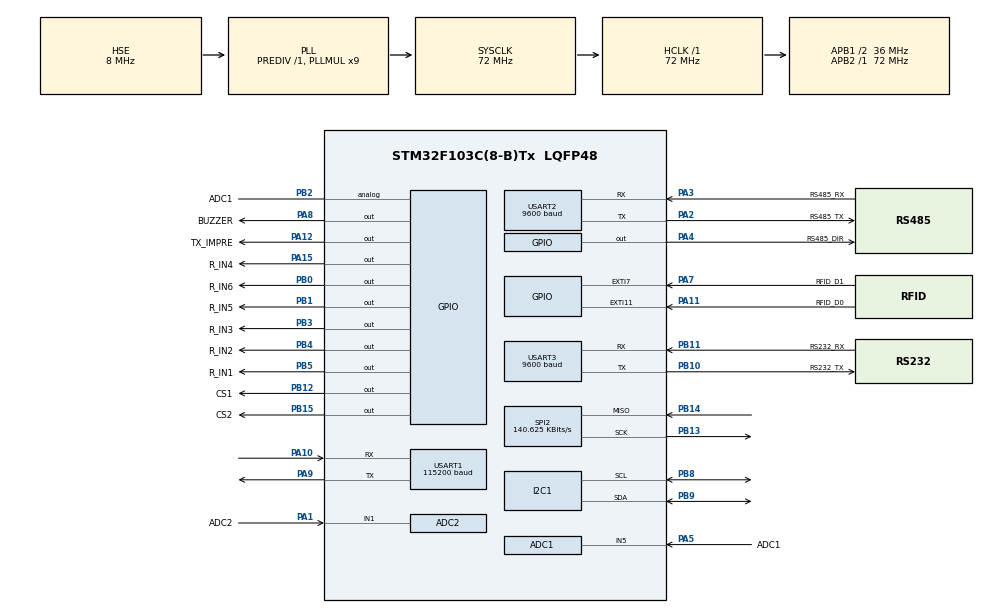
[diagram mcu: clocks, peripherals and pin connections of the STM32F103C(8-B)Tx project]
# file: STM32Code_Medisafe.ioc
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ADC1.Channel-2\#ChannelRegularConversion=ADC_CHANNEL_5
ADC1.ContinuousConvMode=ENABLE
ADC1.NbrOfConversionFlag=1
ADC1.Rank-2\#ChannelRegularConversion=1
ADC1.SamplingTime-2\#ChannelRegularConversion=ADC_SAMPLETIME_1CYCLE_5
ADC1.master=1
ADC2.Channel-1\#ChannelRegularConversion=ADC_CHANNEL_1
ADC2.ContinuousConvMode=ENABLE
ADC2.NbrOfConversionFlag=1
ADC2.Rank-1\#ChannelRegularConversion=1
ADC2.SamplingTime-1\#ChannelRegularConversion=ADC_SAMPLETIME_1CYCLE_5
IWDG.Prescaler=IWDG_PRESCALER_256
Mcu.Family=STM32F1
Mcu.Name=STM32F103C(8-B)Tx
Mcu.Package=LQFP48
NVIC.EXTI15_10_IRQn=true\:0\:0\:false\:false\:true\:true\:true\:true
NVIC.EXTI9_5_IRQn=true\:0\:0\:false\:false\:true\:true\:true\:true
NVIC.PriorityGroup=NVIC_PRIORITYGROUP_4
NVIC.USART1_IRQn=true\:0\:0\:false\:false\:true\:true\:true\:true
NVIC.USART2_IRQn=true\:1\:0\:true\:false\:true\:true\:true\:true
NVIC.USART3_IRQn=true\:0\:0\:false\:false\:true\:true\:true\:true
PA1.GPIO_Label=ADC2
PA1.Signal=ADCx_IN1
PA11.GPIO_Label=RFID_D0
PA11.GPIO_ModeDefaultEXTI=GPIO_MODE_IT_FALLING
PA11.Signal=GPXTI11
PA12.GPIO_Label=TX_IMPRE
PA12.GPIO_Speed=GPIO_SPEED_FREQ_HIGH
PA12.PinState=GPIO_PIN_SET
PA12.Signal=GPIO_Output
PA13.Mode=Serial_Wire
PA13.Signal=SYS_JTMS-SWDIO
PA14.Mode=Serial_Wire
PA14.Signal=SYS_JTCK-SWCLK
PA15.GPIO_Label=R_IN4
PA15.Signal=GPIO_Output
PA2.GPIO_Label=RS485_TX
PA2.Mode=Asynchronous
PA2.Signal=USART2_TX
PA3.GPIO_Label=RS485_RX
PA3.Mode=Asynchronous
PA3.Signal=USART2_RX
PA4.GPIO_Label=RS485_DIR
PA4.Signal=GPIO_Output
PA5.GPIO_Label=ADC1
PA5.Signal=ADCx_IN5
PA7.GPIO_Label=RFID_D1
PA7.GPIO_ModeDefaultEXTI=GPIO_MODE_IT_FALLING
PA7.Signal=GPXTI7
PA8.GPIO_Label=BUZZER
PA8.PinState=GPIO_PIN_SET
PA8.Signal=GPIO_Output
PB0.GPIO_Label=R_IN6
PB0.Signal=GPIO_Output
PB1.GPIO_Label=R_IN5
PB1.Signal=GPIO_Output
PB10.GPIO_Label=RS232_TX
PB10.Mode=Asynchronous
PB10.Signal=USART3_TX
PB11.GPIO_Label=RS232_RX
PB11.Mode=Asynchronous
PB11.Signal=USART3_RX
PB12.GPIO_Label=CS1
PB12.PinState=GPIO_PIN_SET
PB12.Signal=GPIO_Output
PB13.Mode=RX_Only_Simplex_Unidirect_Master
PB13.Signal=SPI2_SCK
PB14.Mode=RX_Only_Simplex_Unidirect_Master
PB14.Signal=SPI2_MISO
PB15.GPIO_Label=CS2
PB15.Signal=GPIO_Output
PB2.GPIO_Label=ADC1
PB2.Signal=GPIO_Analog
PB3.GPIO_Label=R_IN3
PB3.Signal=GPIO_Output
PB4.GPIO_Label=R_IN2
PB4.Signal=GPIO_Output
PB5.GPIO_Label=R_IN1
PB5.Signal=GPIO_Output
PA9.Mode=Asynchronous
PA9.Signal=USART1_TX
PA10.Mode=Asynchronous
PA10.Signal=USART1_RX
PB8.Mode=I2C
PB8.Signal=I2C1_SCL
PB9.Mode=I2C
PB9.Signal=I2C1_SDA
PC14-OSC32_IN.Mode=LSE-External-Oscillator
PC14-OSC32_IN.Signal=RCC_OSC32_IN
PC15-OSC32_OUT.Mode=LSE-External-Oscillator
PC15-OSC32_OUT.Signal=RCC_OSC32_OUT
PD0-OSC_IN.Mode=HSE-External-Oscillator
PD0-OSC_IN.Signal=RCC_OSC_IN
PD1-OSC_OUT.Mode=HSE-External-Oscillator
PD1-OSC_OUT.Signal=RCC_OSC_OUT
ProjectManager.HeapSize=0x200
ProjectManager.StackSize=0x400
ProjectManager.TargetToolchain=STM32CubeIDE
RCC.ADCPresc=RCC_ADCPCLK2_DIV6
RCC.AHBFreq_Value=72000000
RCC.APB1CLKDivider=RCC_HCLK_DIV2
RCC.APB1Freq_Value=36000000
RCC.APB1TimFreq_Value=72000000
RCC.APB2Freq_Value=72000000
RCC.APB2TimFreq_Value=72000000
RCC.HCLKFreq_Value=72000000
RCC.PLLMUL=RCC_PLL_MUL9
RCC.PLLSourceVirtual=RCC_PLLSOURCE_HSE
RCC.SYSCLKFreq_VALUE=72000000
RCC.SYSCLKSource=RCC_SYSCLKSOURCE_PLLCLK
RCC.USBFreq_Value=72000000
SH.ADCx_IN1.0=ADC2_IN1,IN1
SH.ADCx_IN5.0=ADC1_IN5,IN5
SPI2.BaudRatePrescaler=SPI_BAUDRATEPRESCALER_256
SPI2.CalculateBaudRate=140.625 KBits/s
SPI2.DataSize=SPI_DATASIZE_16BIT
SPI2.Direction=SPI_DIRECTION_2LINES_RXONLY
SPI2.Mode=SPI_MODE_MASTER
SPI2.VirtualType=VM_MASTER
TIM1.Prescaler=71
USART1.BaudRate=115200
USART1.VirtualMode=VM_ASYNC
USART2.BaudRate=9600
USART2.VirtualMode=VM_ASYNC
USART3.BaudRate=9600
USART3.VirtualMode=VM_ASYNC
VP_IWDG_VS_IWDG.Mode=IWDG_Activate
VP_TIM1_VS_ClockSourceINT.Mode=Internal
board=custom

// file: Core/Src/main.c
/* USER CODE BEGIN Header */
/**
 ******************************************************************************
 * @file           : main.c
 * @brief          : Main program body
 ******************************************************************************
 * @attention
 *
 * Copyright (c) 2026 STMicroelectronics.
 * All rights reserved.
 *
 * This software is licensed under terms that can be found in the LICENSE file
 * in the root directory of this software component.
 * If no LICENSE file comes with this software, it is provided AS-IS.
 *
 ******************************************************************************
 */
/* USER CODE END Header */
#include "main.h"

/* USER CODE BEGIN Includes */
#include "nextion_ota.h"
#include "stdint.h"
#include "stdbool.h"
#include "stdio.h"
#include "stdlib.h"
#include <string.h>

#include "i2c_pressure.h"
#include "rfid_wiegand.h"
#include "fsm_reprocesadora1.h"
#include "rs485_pressure_sensor.h"
#include "watchdog.h"
#include "relay_module.h"
#include "global_variables.h"
#include "nextion.h"
#include "user_gpio.h"
#include "SystemTicks.h"
#include "ntc_adc.h"
#include "CSN_A2.h" // impresora
#include "ticket.h" // generacion de tickets L1
#include "UltrasonicGenerator.h"
#include "ENDOCLEAN2000.h"
#include "Medisafe.h"
/* USER CODE END Includes */

/* USER CODE BEGIN PD */

#define FIRMWARE_VER "data.firm_ver.txt=\"1.32 OTA\""

/* USER CODE END PD */

ADC_HandleTypeDef hadc1;
ADC_HandleTypeDef hadc2;

I2C_HandleTypeDef hi2c1;

IWDG_HandleTypeDef hiwdg;

SPI_HandleTypeDef hspi2;

TIM_HandleTypeDef htim1;

UART_HandleTypeDef huart1;
UART_HandleTypeDef huart2;
UART_HandleTypeDef huart3;

/* USER CODE BEGIN PV */

uint32_t impresora_tic = 1000;

/* USER CODE END PV */

void SystemClock_Config(void);
static void MX_GPIO_Init(void);
static void MX_ADC1_Init(void);
static void MX_ADC2_Init(void);
static void MX_I2C1_Init(void);
static void MX_IWDG_Init(void);
static void MX_SPI2_Init(void);
static void MX_TIM1_Init(void);
static void MX_USART1_UART_Init(void);
static void MX_USART2_UART_Init(void);
static void MX_USART3_UART_Init(void);

/* USER CODE BEGIN 0 */

void HAL_IncTick(void)   /// base de tiempo, llamada por el sistema cada 1 ms por defecto
{
	uwTick += uwTickFreq;
	SystemTicks_1ms();

	fsm_reprocesadora1_tick();

	fsm_detergente1_tick();

	if(impresora_tic > 0)
		impresora_tic--;
}

void HAL_UART_TxCpltCallback(UART_HandleTypeDef *huart)
{
#ifdef NEXTION_USE_HUART1
	if (huart == &huart1)
	{
		nextion_tx_cplt_isr();
	}
#else
	if (huart == &huart3)	// RS232
	{
		nextion_tx_cplt_isr();
	}
#endif
}

void HAL_GPIO_EXTI_Callback(uint16_t GPIO_Pin)
{
	Rfid_Wiegand_Callback(GPIO_Pin);
}

void HAL_UART_RxCpltCallback(UART_HandleTypeDef *huart)
{
	if (huart == &huart1)
	{
		nextion_ota_rx_callback(huart);
		return;
	}

	/*----- INTERRUPCION DE 485 -----*/
	if (huart == &huart2)
	{
		rs485_rx_available = 1;
	}

#ifdef NEXTION_USE_HUART1
	if (huart == &huart1)
	{
		Nextion_RxCallback();
	}
#else
	if (huart == &huart3 && !nextion_ota_is_active())	// RS232
	{
		Nextion_RxCallback();
	}
#endif
}

void HAL_UART_ErrorCallback(UART_HandleTypeDef *huart)
{
	if (huart == &huart1)
	{
		__HAL_UART_CLEAR_OREFLAG(huart);
		nextion_ota_restart_rx();
	}
}

/* USER CODE END 0 */

int main(void)
{

	/* MCU Configuration--------------------------------------------------------*/

	/* Reset of all peripherals, Initializes the Flash interface and the Systick. */
	HAL_Init();

	/* Configure the system clock */
	SystemClock_Config();

	/* Initialize all configured peripherals */
	MX_GPIO_Init();
	MX_ADC1_Init();
	MX_ADC2_Init();
	MX_I2C1_Init();
	MX_IWDG_Init();
	MX_SPI2_Init();
	MX_TIM1_Init();
	MX_USART1_UART_Init();
	MX_USART2_UART_Init();
	MX_USART3_UART_Init();
	/* USER CODE BEGIN 2 */

	SystemTicks_Init();

	user_gpio_init();
	RS485_Init();
	RelayModule_Init(REPRO1);
	Rfid_Wiegand_Init();
	UltSon_Init();

	//EC2000_fsm_init();
	/* Medisafe se inicia solamente al recibir L1_b_comenzar desde Nextion. */

	Inicializar_CSN_A2();
	Ticket_InitAll();
	nextion_ota_init();

	/* Preparo para recibir datos de Nextion. Al ejecutar Nextion_Init la
	 * pantalla te manda tiempos de lavado y configuraciones. */
	Nextion_ReceiveData();//---> Habilitar la recepcion de datos en el puerto serie.
	enqueue_nextion_command(FIRMWARE_VER); //---> Envio la version a la pantalla.
	HAL_Delay(500);
	Nextion_Init();

	buzzer_init();

	/* USER CODE END 2 */

	/* Infinite loop */
	/* USER CODE BEGIN WHILE */
	while (1)
	{
		nextion_ota_runcycle();
		if (!nextion_ota_is_active())
		{

		//EC2000_fsm_runcycle();
		Medsaf_fsm_runcycle();

		if(!example_tic)
		{
			example_tic=5000;
		}

		//---> Delay entre FSM.
		fsm1_delay_service();   // SIEMPRE corre, aunque fsm1_enable=0

		//---> Sensor de Presion I2C
		sensadoPresion();

		//---> Sensores de temperatura NTC
		NTC_ADC_Loop();

		//---> Procesar RS485.
		RS485_Loop();

		//---> Lector rfid wiegand.
		Rfid_Wiegand_Loop();

		//---> Lectura de puertos GPIO.
		user_gpio_loop();

		//---> Recepción de mensajes de la pantalla Nextion.
		Nextion_Loop();
		Nextion_Demo();

		//---> Chequeo de Endoscopio Desconectado durante Recirculado
		fsm1_recirculado();

		//---> Máquina de estados de las lavadoras.
		/*		if( !fsm1_enable && fsm1_stopped ) // Runcycle para manejo del STOP manual y automatico por fuga de presion
			fsm_stop1_runCycle();
		else if( fsm1_enable && !fsm1_stopped )	// flag para deshabilitar fsm al llamar a fsm1_delay()
			fsm_reprocesadora1_runCycle();
		 */
		// Pedir RTC solo cuando el próximo item en cola lo requiera
		if (Ticket_NeedsRtcNow(REPRO1)) Nextion_RTC_Request(REPRO1);

		Ticket_LoopAll();          // ejecuta 1 acción por lavadora por iteración
		Ticket_ServicePrintAll();  // imprime snapshots (cooldown 5s)
		}

		//---> Refresco del WatchDog (IWDG).
		watchdog_refresh();

		//---> Wait for interrupt (WFI)
		__WFI();
		/* USER CODE END WHILE */

	}
}

void SystemClock_Config(void)
{
	RCC_OscInitTypeDef RCC_OscInitStruct = {0};
	RCC_ClkInitTypeDef RCC_ClkInitStruct = {0};
	RCC_PeriphCLKInitTypeDef PeriphClkInit = {0};

	/** Initializes the RCC Oscillators according to the specified parameters
	 * in the RCC_OscInitTypeDef structure.
	 */
	RCC_OscInitStruct.OscillatorType = RCC_OSCILLATORTYPE_LSI|RCC_OSCILLATORTYPE_HSE;
	RCC_OscInitStruct.HSEState = RCC_HSE_ON;
	RCC_OscInitStruct.HSEPredivValue = RCC_HSE_PREDIV_DIV1;
	RCC_OscInitStruct.HSIState = RCC_HSI_ON;
	RCC_OscInitStruct.LSIState = RCC_LSI_ON;
	RCC_OscInitStruct.PLL.PLLState = RCC_PLL_ON;
	RCC_OscInitStruct.PLL.PLLSource = RCC_PLLSOURCE_HSE;
	RCC_OscInitStruct.PLL.PLLMUL = RCC_PLL_MUL9;
	if (HAL_RCC_OscConfig(&RCC_OscInitStruct) != HAL_OK)
	{
		Error_Handler();
	}

	/** Initializes the CPU, AHB and APB buses clocks
	 */
	RCC_ClkInitStruct.ClockType = RCC_CLOCKTYPE_HCLK|RCC_CLOCKTYPE_SYSCLK
			|RCC_CLOCKTYPE_PCLK1|RCC_CLOCKTYPE_PCLK2;
	RCC_ClkInitStruct.SYSCLKSource = RCC_SYSCLKSOURCE_PLLCLK;
	RCC_ClkInitStruct.AHBCLKDivider = RCC_SYSCLK_DIV1;
	RCC_ClkInitStruct.APB1CLKDivider = RCC_HCLK_DIV2;
	RCC_ClkInitStruct.APB2CLKDivider = RCC_HCLK_DIV1;

	if (HAL_RCC_ClockConfig(&RCC_ClkInitStruct, FLASH_LATENCY_2) != HAL_OK)
	{
		Error_Handler();
	}
	PeriphClkInit.PeriphClockSelection = RCC_PERIPHCLK_ADC;
	PeriphClkInit.AdcClockSelection = RCC_ADCPCLK2_DIV6;
	if (HAL_RCCEx_PeriphCLKConfig(&PeriphClkInit) != HAL_OK)
	{
		Error_Handler();
	}
}

static void MX_ADC1_Init(void)
{

	ADC_ChannelConfTypeDef sConfig = {0};

	/** Common config
	 */
	hadc1.Instance = ADC1;
	hadc1.Init.ScanConvMode = ADC_SCAN_DISABLE;
	hadc1.Init.ContinuousConvMode = ENABLE;
	hadc1.Init.DiscontinuousConvMode = DISABLE;
	hadc1.Init.ExternalTrigConv = ADC_SOFTWARE_START;
	hadc1.Init.DataAlign = ADC_DATAALIGN_RIGHT;
	hadc1.Init.NbrOfConversion = 1;
	if (HAL_ADC_Init(&hadc1) != HAL_OK)
	{
		Error_Handler();
	}

	/** Configure Regular Channel
	 */
	sConfig.Channel = ADC_CHANNEL_5;
	sConfig.Rank = ADC_REGULAR_RANK_1;
	sConfig.SamplingTime = ADC_SAMPLETIME_1CYCLE_5;
	if (HAL_ADC_ConfigChannel(&hadc1, &sConfig) != HAL_OK)
	{
		Error_Handler();
	}

}

static void MX_ADC2_Init(void)
{

	ADC_ChannelConfTypeDef sConfig = {0};

	/** Common config
	 */
	hadc2.Instance = ADC2;
	hadc2.Init.ScanConvMode = ADC_SCAN_DISABLE;
	hadc2.Init.ContinuousConvMode = ENABLE;
	hadc2.Init.DiscontinuousConvMode = DISABLE;
	hadc2.Init.ExternalTrigConv = ADC_SOFTWARE_START;
	hadc2.Init.DataAlign = ADC_DATAALIGN_RIGHT;
	hadc2.Init.NbrOfConversion = 1;
	if (HAL_ADC_Init(&hadc2) != HAL_OK)
	{
		Error_Handler();
	}

	/** Configure Regular Channel
	 */
	sConfig.Channel = ADC_CHANNEL_1;
	sConfig.Rank = ADC_REGULAR_RANK_1;
	sConfig.SamplingTime = ADC_SAMPLETIME_1CYCLE_5;
	if (HAL_ADC_ConfigChannel(&hadc2, &sConfig) != HAL_OK)
	{
		Error_Handler();
	}

}

static void MX_I2C1_Init(void)
{

	hi2c1.Instance = I2C1;
	hi2c1.Init.ClockSpeed = 100000;
	hi2c1.Init.DutyCycle = I2C_DUTYCYCLE_2;
	hi2c1.Init.OwnAddress1 = 0;
	hi2c1.Init.AddressingMode = I2C_ADDRESSINGMODE_7BIT;
	hi2c1.Init.DualAddressMode = I2C_DUALADDRESS_DISABLE;
	hi2c1.Init.OwnAddress2 = 0;
	hi2c1.Init.GeneralCallMode = I2C_GENERALCALL_DISABLE;
	hi2c1.Init.NoStretchMode = I2C_NOSTRETCH_DISABLE;
	if (HAL_I2C_Init(&hi2c1) != HAL_OK)
	{
		Error_Handler();
	}

}

static void MX_IWDG_Init(void)
{

	hiwdg.Instance = IWDG;
	hiwdg.Init.Prescaler = IWDG_PRESCALER_256;
	hiwdg.Init.Reload = 4095;
	if (HAL_IWDG_Init(&hiwdg) != HAL_OK)
	{
		Error_Handler();
	}

}

static void MX_SPI2_Init(void)
{

	/* SPI2 parameter configuration*/
	hspi2.Instance = SPI2;
	hspi2.Init.Mode = SPI_MODE_MASTER;
	hspi2.Init.Direction = SPI_DIRECTION_2LINES_RXONLY;
	hspi2.Init.DataSize = SPI_DATASIZE_16BIT;
	hspi2.Init.CLKPolarity = SPI_POLARITY_LOW;
	hspi2.Init.CLKPhase = SPI_PHASE_1EDGE;
	hspi2.Init.NSS = SPI_NSS_SOFT;
	hspi2.Init.BaudRatePrescaler = SPI_BAUDRATEPRESCALER_256;
	hspi2.Init.FirstBit = SPI_FIRSTBIT_MSB;
	hspi2.Init.TIMode = SPI_TIMODE_DISABLE;
	hspi2.Init.CRCCalculation = SPI_CRCCALCULATION_DISABLE;
	hspi2.Init.CRCPolynomial = 10;
	if (HAL_SPI_Init(&hspi2) != HAL_OK)
	{
		Error_Handler();
	}

}

static void MX_TIM1_Init(void)
{

	TIM_ClockConfigTypeDef sClockSourceConfig = {0};
	TIM_MasterConfigTypeDef sMasterConfig = {0};

	htim1.Instance = TIM1;
	htim1.Init.Prescaler = 71;
	htim1.Init.CounterMode = TIM_COUNTERMODE_UP;
	htim1.Init.Period = 65535;
	htim1.Init.ClockDivision = TIM_CLOCKDIVISION_DIV1;
	htim1.Init.RepetitionCounter = 0;
	htim1.Init.AutoReloadPreload = TIM_AUTORELOAD_PRELOAD_DISABLE;
	if (HAL_TIM_Base_Init(&htim1) != HAL_OK)
	{
		Error_Handler();
	}
	sClockSourceConfig.ClockSource = TIM_CLOCKSOURCE_INTERNAL;
	if (HAL_TIM_ConfigClockSource(&htim1, &sClockSourceConfig) != HAL_OK)
	{
		Error_Handler();
	}
	sMasterConfig.MasterOutputTrigger = TIM_TRGO_RESET;
	sMasterConfig.MasterSlaveMode = TIM_MASTERSLAVEMODE_DISABLE;
	if (HAL_TIMEx_MasterConfigSynchronization(&htim1, &sMasterConfig) != HAL_OK)
	{
		Error_Handler();
	}

}

static void MX_USART1_UART_Init(void)
{

	huart1.Instance = USART1;
	huart1.Init.BaudRate = 115200;
	huart1.Init.WordLength = UART_WORDLENGTH_8B;
	huart1.Init.StopBits = UART_STOPBITS_1;
	huart1.Init.Parity = UART_PARITY_NONE;
	huart1.Init.Mode = UART_MODE_TX_RX;
	huart1.Init.HwFlowCtl = UART_HWCONTROL_NONE;
	huart1.Init.OverSampling = UART_OVERSAMPLING_16;
	if (HAL_UART_Init(&huart1) != HAL_OK)
	{
		Error_Handler();
	}

}

static void MX_USART2_UART_Init(void)
{

	huart2.Instance = USART2;
	huart2.Init.BaudRate = 9600;
	huart2.Init.WordLength = UART_WORDLENGTH_8B;
	huart2.Init.StopBits = UART_STOPBITS_1;
	huart2.Init.Parity = UART_PARITY_NONE;
	huart2.Init.Mode = UART_MODE_TX_RX;
	huart2.Init.HwFlowCtl = UART_HWCONTROL_NONE;
	huart2.Init.OverSampling = UART_OVERSAMPLING_16;
	if (HAL_UART_Init(&huart2) != HAL_OK)
	{
		Error_Handler();
	}

}

static void MX_USART3_UART_Init(void)
{

	huart3.Instance = USART3;
	huart3.Init.BaudRate = 9600;
	huart3.Init.WordLength = UART_WORDLENGTH_8B;
	huart3.Init.StopBits = UART_STOPBITS_1;
	huart3.Init.Parity = UART_PARITY_NONE;
	huart3.Init.Mode = UART_MODE_TX_RX;
	huart3.Init.HwFlowCtl = UART_HWCONTROL_NONE;
	huart3.Init.OverSampling = UART_OVERSAMPLING_16;
	if (HAL_UART_Init(&huart3) != HAL_OK)
	{
		Error_Handler();
	}

}

static void MX_GPIO_Init(void)
{
	GPIO_InitTypeDef GPIO_InitStruct = {0};

	/* GPIO Ports Clock Enable */
	__HAL_RCC_GPIOC_CLK_ENABLE();
	__HAL_RCC_GPIOD_CLK_ENABLE();
	__HAL_RCC_GPIOA_CLK_ENABLE();
	__HAL_RCC_GPIOB_CLK_ENABLE();

	/*Configure GPIO pin Output Level */
	HAL_GPIO_WritePin(GPIOA, RS485_DIR_Pin|R_IN4_Pin, GPIO_PIN_RESET);

	/*Configure GPIO pin Output Level */
	HAL_GPIO_WritePin(GPIOB, R_IN6_Pin|R_IN5_Pin|CS2_Pin|R_IN3_Pin
			|R_IN2_Pin|R_IN1_Pin, GPIO_PIN_RESET);

	/*Configure GPIO pin Output Level */
	HAL_GPIO_WritePin(CS1_GPIO_Port, CS1_Pin, GPIO_PIN_SET);

	/*Configure GPIO pin Output Level */
	HAL_GPIO_WritePin(GPIOA, BUZZER_Pin|TX_IMPRE_Pin, GPIO_PIN_SET);

	/*Configure GPIO pins : RS485_DIR_Pin BUZZER_Pin R_IN4_Pin */
	GPIO_InitStruct.Pin = RS485_DIR_Pin|BUZZER_Pin|R_IN4_Pin;
	GPIO_InitStruct.Mode = GPIO_MODE_OUTPUT_PP;
	GPIO_InitStruct.Pull = GPIO_NOPULL;
	GPIO_InitStruct.Speed = GPIO_SPEED_FREQ_LOW;
	HAL_GPIO_Init(GPIOA, &GPIO_InitStruct);

	/*Configure GPIO pins : RFID_D1_Pin RFID_D0_Pin */
	GPIO_InitStruct.Pin = RFID_D1_Pin|RFID_D0_Pin;
	GPIO_InitStruct.Mode = GPIO_MODE_IT_FALLING;
	GPIO_InitStruct.Pull = GPIO_NOPULL;
	HAL_GPIO_Init(GPIOA, &GPIO_InitStruct);

	/*Configure GPIO pins : R_IN6_Pin R_IN5_Pin CS1_Pin CS2_Pin
                           R_IN3_Pin R_IN2_Pin R_IN1_Pin */
	GPIO_InitStruct.Pin = R_IN6_Pin|R_IN5_Pin|CS1_Pin|CS2_Pin
			|R_IN3_Pin|R_IN2_Pin|R_IN1_Pin;
	GPIO_InitStruct.Mode = GPIO_MODE_OUTPUT_PP;
	GPIO_InitStruct.Pull = GPIO_NOPULL;
	GPIO_InitStruct.Speed = GPIO_SPEED_FREQ_LOW;
	HAL_GPIO_Init(GPIOB, &GPIO_InitStruct);

	/*Configure GPIO pin : ADC1B2_Pin */
	GPIO_InitStruct.Pin = ADC1B2_Pin;
	GPIO_InitStruct.Mode = GPIO_MODE_ANALOG;
	HAL_GPIO_Init(ADC1B2_GPIO_Port, &GPIO_InitStruct);

	/*Configure GPIO pin : TX_IMPRE_Pin */
	GPIO_InitStruct.Pin = TX_IMPRE_Pin;
	GPIO_InitStruct.Mode = GPIO_MODE_OUTPUT_PP;
	GPIO_InitStruct.Pull = GPIO_NOPULL;
	GPIO_InitStruct.Speed = GPIO_SPEED_FREQ_HIGH;
	HAL_GPIO_Init(TX_IMPRE_GPIO_Port, &GPIO_InitStruct);

	/* EXTI interrupt init*/
	HAL_NVIC_SetPriority(EXTI9_5_IRQn, 0, 0);
	HAL_NVIC_EnableIRQ(EXTI9_5_IRQn);

	HAL_NVIC_SetPriority(EXTI15_10_IRQn, 0, 0);
	HAL_NVIC_EnableIRQ(EXTI15_10_IRQn);

}

void Error_Handler(void)
{
	__disable_irq();
	while (1)
	{
	}
}
